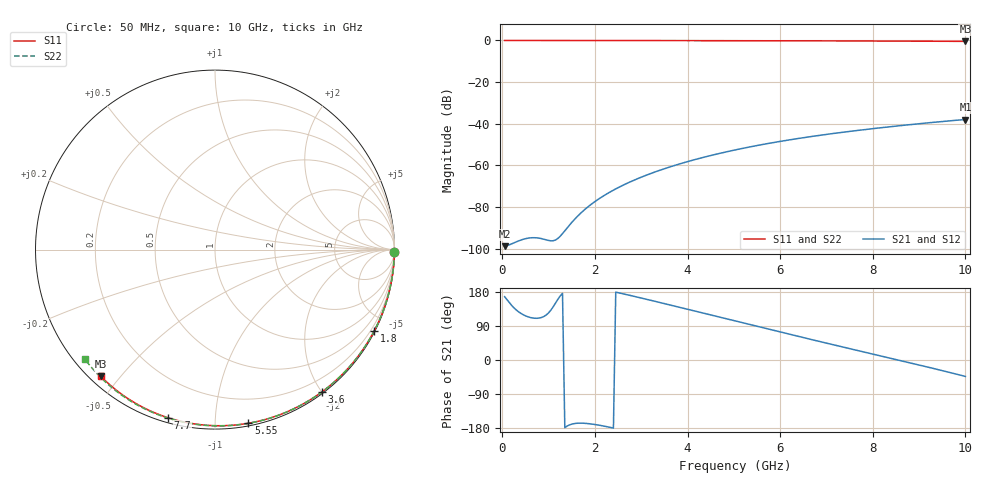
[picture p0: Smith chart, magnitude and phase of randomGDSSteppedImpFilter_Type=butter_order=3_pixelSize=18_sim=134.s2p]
! freq	dB(S11)	phase(S11)	dB(S12)	phase(S12)
!  dB(S21)	phase(S21)	dB(S22)	phase(S22)
!S-par simulation data
#  GHz  S  DB  R 50
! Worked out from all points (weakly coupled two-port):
!   200 points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, 50 MHz to 10 GHz, reference 50 ohm
!   highest |S21| = -37.99 dB at 10 GHz (marker M1); lowest = -98.9 dB at 50 MHz (marker M2)
!   lowest |S11| = -0.4 dB at 10 GHz (marker M3), VSWR 39.18, Z = 1.53 - j22.2 ohm
!   |S11| at or under -10 dB: nowhere
!   |S22| runs from -0.5 to 0.0 dB; largest |S21 - S12| = 0
!   S11 on the Smith chart (normalised r, x): 50 MHz: open; 1.8 GHz: 0.04, -4.15; 3.6 GHz: 0.02, -2.01; 5.55 GHz: 0.02, -1.21; 7.7 GHz: 0.02, -0.76; 10 GHz: 0.03, -0.44
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0.05  -0.00 -0.8  -98.86 167.1  -98.86 167.1  -0.00 -0.8
0.5  -0.01 -7.6  -95.27 116.6  -95.27 116.6  -0.01 -8.1
0.9  -0.02 -13.7  -95.53 114.9  -95.53 114.9  -0.02 -14.6
1.75  -0.03 -26.4  -81.84 -166.8  -81.84 -166.8  -0.04 -28.1
1.8  -0.03 -27.1  -80.87 -167.2  -80.87 -167.2  -0.04 -28.9
1.85  -0.04 -27.8  -79.96 -167.8  -79.96 -167.8  -0.04 -29.6
2  -0.04 -30.1  -77.43 -170.2  -77.43 -170.2  -0.04 -32.0
2.15  -0.04 -32.3  -75.18 -173.4  -75.18 -173.4  -0.04 -34.3
2.35  -0.05 -35.2  -72.53 -178.3  -72.53 -178.3  -0.05 -37.4
2.55  -0.05 -38.1  -70.18 176.3  -70.18 176.3  -0.05 -40.5
2.95  -0.06 -43.8  -66.16 165.0  -66.16 165.0  -0.06 -46.6
3.4  -0.07 -50.2  -62.39 151.8  -62.39 151.8  -0.07 -53.3
3.6  -0.07 -53.0  -60.91 145.9  -60.91 145.9  -0.08 -56.3
4.3  -0.09 -62.6  -56.42 125.0  -56.42 125.0  -0.09 -66.5
5.05  -0.11 -72.6  -52.50 102.4  -52.50 102.4  -0.12 -77.0
5.55  -0.13 -79.1  -50.28 87.4  -50.28 87.4  -0.14 -83.9
6.1  -0.15 -86.1  -48.13 71.0  -48.13 71.0  -0.16 -91.3
6.7  -0.18 -93.5  -46.07 53.3  -46.07 53.3  -0.19 -99.1
7.7  -0.24 -105.5  -43.16 24.3  -43.16 24.3  -0.26 -111.9
8.35  -0.29 -113.2  -41.52 5.6  -41.52 5.6  -0.31 -120.0
9.2  -0.36 -122.9  -39.58 -19.1  -39.58 -19.1  -0.38 -130.4
10  -0.44 -132.0  -37.99 -43.4  -37.99 -43.4  -0.47 -140.1
